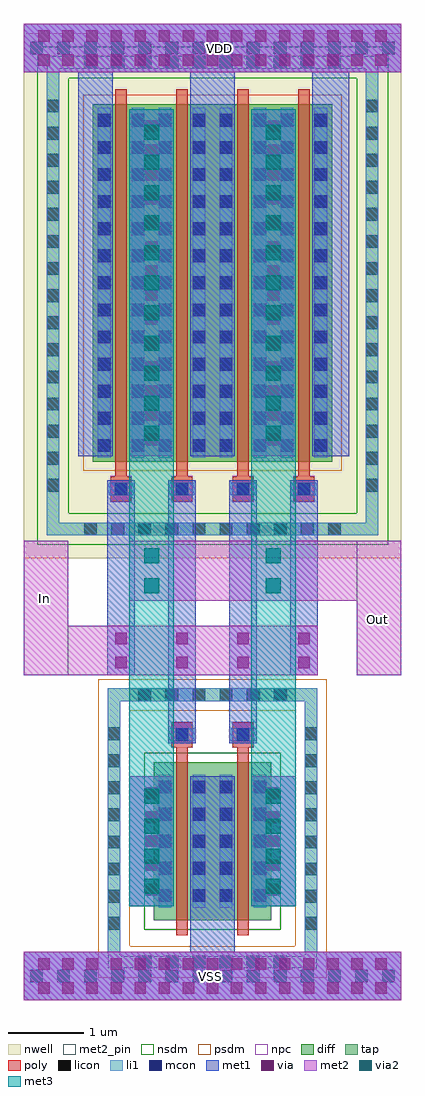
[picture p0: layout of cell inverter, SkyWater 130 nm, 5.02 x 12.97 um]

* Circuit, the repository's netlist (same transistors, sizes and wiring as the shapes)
** sch_path: /foss/designs/RO_Aging_UNICASS/MUX/inverter.sch
.subckt inverter VDD Out In VSS
*.PININFO VDD:B Out:B VSS:B In:B
M3 Out In VSS VSS sky130_fd_pr__nfet_01v8 L=0.15 W=2.1 nf=1 ad='int((nf+1)/2) * W/nf * 0.29' as='int((nf+2)/2) * W/nf * 0.29' pd='2*int((nf+1)/2) * (W/nf + 0.29)'
+ ps='2*int((nf+2)/2) * (W/nf + 0.29)' nrd='0.29 / W' nrs='0.29 / W' sa=0 sb=0 sd=0 mult=2 m=2
M1 Out In VDD VDD sky130_fd_pr__pfet_01v8 L=0.15 W=4.75 nf=1 ad='int((nf+1)/2) * W/nf * 0.29' as='int((nf+2)/2) * W/nf * 0.29' pd='2*int((nf+1)/2) * (W/nf + 0.29)'
+ ps='2*int((nf+2)/2) * (W/nf + 0.29)' nrd='0.29 / W' nrs='0.29 / W' sa=0 sb=0 sd=0 mult=4 m=4
.ends
.end

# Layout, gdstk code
from math import pi, radians
import gdstk
lib = gdstk.Library(unit=1e-6, precision=1e-09)
def R(c, l, rs):  # rectangles x0, y0, x1, y1
    for r in rs: c.add(gdstk.rectangle(r[:2], r[2:], *l))
def A(c, l, x, y, w, h, nx, ny, dx, dy):  # array of equal rectangles
    R(c, l, [(x+i*dx, y+j*dy, x+i*dx+w, y+j*dy+h) for i in range(nx) for j in range(ny)])
nwell = (64, 20)
diff = (65, 20)
tap = (65, 44)
poly = (66, 20)
licon = (66, 44)
li1 = (67, 20)
mcon = (67, 44)
met1 = (68, 20)
via = (68, 44)
met2_pin = (69, 16)
met2 = (69, 20)
via2 = (69, 44)
met3 = (70, 20)
nsdm = (93, 44)
psdm = (94, 20)
npc = (95, 20)

vias_gen = lib.new_cell('vias_gen')
R(vias_gen, met2, [(0,0,0.59,0.8)])
R(vias_gen, via2, [(0.195,0.1,0.395,0.3), (0.195,0.5,0.395,0.7)])
R(vias_gen, met3, [(0,0,0.59,0.8)])

vias_gen_1 = lib.new_cell('vias_gen$1')
R(vias_gen_1, li1, [(0,0,5.02,0.64)])
A(vias_gen_1, mcon, 0.085, 0.235, 0.17, 0.17, 14, 1, 0.36, 0)
R(vias_gen_1, met1, [(0,0,5.02,0.64)])
A(vias_gen_1, via, 0.195, 0.085, 0.15, 0.15, 15, 2, 0.32, 0.32)
R(vias_gen_1, met2, [(0,0,5.02,0.64)])

nfet = lib.new_cell('nfet')
R(nfet, diff, [(0,0,0.75,2.1)])
R(nfet, poly, [(0.3,-0.2,0.45,2.3), (0.24,2.3,0.51,2.63)])
A(nfet, licon, 0.065, 0.245, 0.17, 0.17, 1, 5, 0, 0.36)
A(nfet, licon, 0.515, 0.245, 0.17, 0.17, 1, 5, 0, 0.36)
R(nfet, licon, [(0.29,2.38,0.46,2.55)])
R(nfet, li1, [(0.065,0.165,0.235,1.935), (0.515,0.165,0.685,1.935), (0.21,2.38,0.54,2.55)])
A(nfet, mcon, 0.065, 0.245, 0.17, 0.17, 1, 5, 0, 0.36)
A(nfet, mcon, 0.515, 0.245, 0.17, 0.17, 1, 5, 0, 0.36)
R(nfet, mcon, [(0.29,2.38,0.46,2.55)])
R(nfet, met1, [(0.035,0.185,0.265,1.915), (0.485,0.185,0.715,1.915), (0.19,2.35,0.56,2.58)])
R(nfet, nsdm, [(-0.125,-0.125,0.875,2.225)])
R(nfet, npc, [(0.23,2.29,0.52,2.64)])

vias_gen_2 = lib.new_cell('vias_gen$2')
R(vias_gen_2, met1, [(0,0,1.73,0.59)])
A(vias_gen_2, via, 0.15, 0.22, 0.15, 0.15, 5, 1, 0.32, 0)
R(vias_gen_2, met2, [(0,0,1.73,0.59)])
A(vias_gen_2, via2, 0.165, 0.195, 0.2, 0.2, 4, 1, 0.4, 0)
R(vias_gen_2, met3, [(0,0,1.73,0.59)])

vias_gen_3 = lib.new_cell('vias_gen$3')
R(vias_gen_3, met1, [(0,0,0.37,0.66)])
R(vias_gen_3, via, [(0.11,0.095,0.26,0.245), (0.11,0.415,0.26,0.565)])
R(vias_gen_3, met2, [(0,0,0.37,0.66)])

vias_gen_4 = lib.new_cell('vias_gen$4')
R(vias_gen_4, met1, [(0,0,4.61,0.59)])
A(vias_gen_4, via, 0.15, 0.22, 0.15, 0.15, 14, 1, 0.32, 0)
R(vias_gen_4, met2, [(0,0,4.61,0.59)])
A(vias_gen_4, via2, 0.205, 0.195, 0.2, 0.2, 11, 1, 0.4, 0)
R(vias_gen_4, met3, [(0,0,4.61,0.59)])

pfet_1 = lib.new_cell('pfet$1')
R(pfet_1, nwell, [(-0.305,-0.72,1.055,5.13)])
R(pfet_1, diff, [(0,0,0.75,4.75)])
R(pfet_1, poly, [(0.24,-0.53,0.51,-0.2), (0.3,-0.2,0.45,4.95)])
A(pfet_1, licon, 0.065, 0.13, 0.17, 0.17, 1, 13, 0, 0.36)
A(pfet_1, licon, 0.515, 0.13, 0.17, 0.17, 1, 13, 0, 0.36)
R(pfet_1, licon, [(0.29,-0.45,0.46,-0.28)])
R(pfet_1, li1, [(0.21,-0.45,0.54,-0.28), (0.065,0.05,0.235,4.7), (0.515,0.05,0.685,4.7)])
A(pfet_1, mcon, 0.065, 0.13, 0.17, 0.17, 1, 13, 0, 0.36)
A(pfet_1, mcon, 0.515, 0.13, 0.17, 0.17, 1, 13, 0, 0.36)
R(pfet_1, mcon, [(0.29,-0.45,0.46,-0.28)])
R(pfet_1, met1, [(0.19,-0.48,0.56,-0.25), (0.035,0.07,0.265,4.68), (0.485,0.07,0.715,4.68)])
R(pfet_1, psdm, [(-0.125,-0.125,0.875,4.875)])
R(pfet_1, npc, [(0.23,-0.54,0.52,-0.19)])

inverter = lib.new_cell('inverter')
R(inverter, nwell, [(4.425,0.735,8.965,7.715), (8.965,0.735,9.445,7.715)])
A(inverter, diff, 6.095, 2.02, 0.155, 4.75, 3, 1, 0.81, 0)
R(inverter, diff, [(6.905,-4.075,6.965,-1.975)])
R(inverter, tap, [(5.54,-4.715,5.71,-0.995), (5.71,-4.715,8.16,-4.545), (8.16,-4.715,8.33,-0.995), (5.71,-1.165,8.16,-0.995), (4.73,1.04,8.97,1.21), (4.73,1.04,4.9,7.24), (4.9,1.04,8.49,1.21), (8.97,1.04,9.14,7.24), (4.73,7.24,9.14,7.41)])
A(inverter, licon, 5.95, -4.715, 0.17, 0.17, 6, 2, 0.36, 3.55)
A(inverter, licon, 5.54, -4.2, 0.17, 0.17, 1, 8, 0, 0.36)
A(inverter, licon, 8.16, -4.2, 0.17, 0.17, 1, 8, 0, 0.36)
A(inverter, licon, 5.23, 1.04, 0.17, 0.17, 10, 2, 0.36, 6.2)
A(inverter, licon, 4.73, 1.62, 0.17, 0.17, 1, 15, 0, 0.36)
A(inverter, licon, 8.97, 1.62, 0.17, 0.17, 1, 15, 0, 0.36)
R(inverter, li1, [(5.54,-4.715,5.71,-0.995), (5.71,-4.715,8.16,-4.545), (8.16,-4.715,8.33,-0.995), (5.71,-1.165,8.16,-0.995), (4.73,1.04,8.97,1.21), (4.73,1.04,4.9,7.24), (8.97,1.04,9.14,7.24), (4.73,7.24,9.14,7.41)])
A(inverter, met1, 5.535, -0.16, 0.37, 1.7, 4, 1, 0.81, 0)
A(inverter, met1, 6.06, 2.09, 0.13, 4.61, 3, 1, 0.81, 0)
R(inverter, met1, [(6.64,-4.495,7.23,-3.89), (6.87,-3.89,7,-2.16), (6.345,-1.495,6.715,-0.49), (7.155,-1.495,7.525,-0.49), (5.15,2.09,5.61,7.195), (8.26,2.09,8.75,7.195), (6.64,6.7,7.23,7.195)])
R(inverter, met2_pin, [(4.425,-5.135,9.445,-4.495), (4.425,-0.82,5.015,0.97), (8.855,-0.82,9.445,0.97), (4.425,7.195,9.445,7.835)])
R(inverter, met2, [(4.425,-5.135,9.445,-4.495), (4.425,-0.82,8.335,-0.16), (8.855,-0.82,9.445,0.17), (4.425,-0.16,5.015,0.97), (5.83,0.17,9.445,0.97), (4.425,7.195,9.445,7.835)])
R(inverter, met3, [(5.83,-2.16,6.42,0.17), (7.45,-2.16,8.04,0.17), (5.83,0.97,6.42,2.09), (7.45,0.97,8.04,2.09)])
R(inverter, nsdm, [(4.605,0.915,9.27,1.335), (4.605,1.335,5.025,7.115), (8.85,1.335,9.27,7.115), (4.605,7.115,9.27,7.535)])
R(inverter, psdm, [(5.415,-4.84,5.835,-0.87), (5.835,-4.84,8.035,-4.42), (8.035,-4.84,8.455,-0.87), (5.835,-1.29,8.035,-0.87)])
inverter.add(gdstk.Reference(vias_gen, (5.83,0.17)))
inverter.add(gdstk.Reference(vias_gen, (7.45,0.17)))
inverter.add(gdstk.Reference(vias_gen_1, (4.425,-5.135)))
inverter.add(gdstk.Reference(nfet, (6.905,-4.075), rotation=pi, x_reflection=True))
inverter.add(gdstk.Reference(nfet, (7.715,-4.075), rotation=pi, x_reflection=True))
inverter.add(gdstk.Reference(vias_gen_2, (6.42,-3.89), rotation=pi/2))
inverter.add(gdstk.Reference(vias_gen_2, (8.04,-3.89), rotation=pi/2))
inverter.add(gdstk.Reference(vias_gen_3, (5.535,-0.82)))
inverter.add(gdstk.Reference(vias_gen_3, (7.155,-0.82)))
inverter.add(gdstk.Reference(vias_gen_3, (7.965,-0.82)))
inverter.add(gdstk.Reference(vias_gen_3, (6.345,-0.82)))
inverter.add(gdstk.Reference(vias_gen_4, (8.04,2.09), rotation=pi/2))
inverter.add(gdstk.Reference(vias_gen_1, (4.425,7.195)))
inverter.add(gdstk.Reference(vias_gen_4, (6.42,2.09), rotation=pi/2))
inverter.add(gdstk.Reference(pfet_1, (8.525,2.02), rotation=pi, x_reflection=True))
inverter.add(gdstk.Reference(pfet_1, (7.715,2.02), rotation=pi, x_reflection=True))
inverter.add(gdstk.Reference(pfet_1, (6.905,2.02), rotation=pi, x_reflection=True))
inverter.add(gdstk.Reference(pfet_1, (6.095,2.02), rotation=pi, x_reflection=True))
inverter.add(gdstk.Label('VSS', (6.915,-4.82), layer=69, texttype=5))
inverter.add(gdstk.Label('VDD', (7.03,7.51), layer=69, texttype=5))
inverter.add(gdstk.Label('In', (4.705,0.195), layer=69, texttype=5))
inverter.add(gdstk.Label('Out', (9.13,-0.08), layer=69, texttype=5))

lib.write_gds('inverter.gds')
